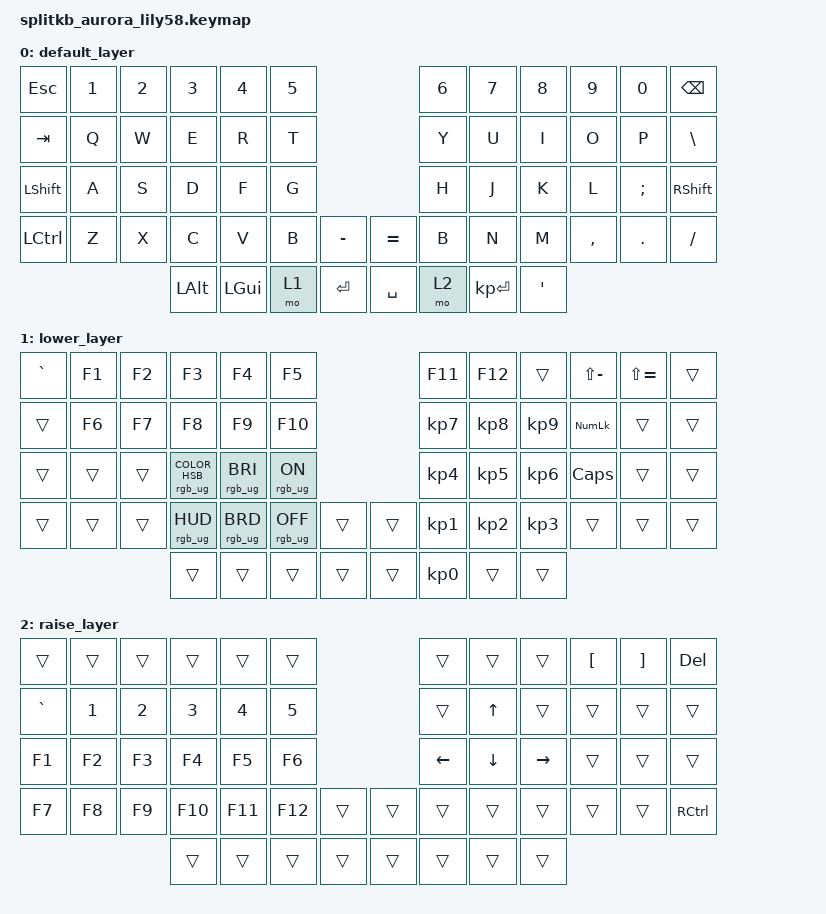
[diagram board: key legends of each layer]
/*
 * om nom nom nom
 */

#include <behaviors.dtsi>
#include <dt-bindings/zmk/keys.h>
#include <dt-bindings/zmk/rgb.h>

&led_strip {
    chain-length = <29>;
};

/ {
    keymap {
        compatible = "zmk,keymap";

        default_layer {

            bindings = <
&kp ESC           &kp N1  &kp N2  &kp N3    &kp N4    &kp N5                          &kp N6  &kp N7        &kp N8    &kp N9     &kp N0      &kp BACKSPACE
&kp TAB           &kp Q   &kp W   &kp E     &kp R     &kp T                           &kp Y   &kp U         &kp I     &kp O      &kp P       &kp BACKSLASH
&kp LEFT_SHIFT    &kp A   &kp S   &kp D     &kp F     &kp G                           &kp H   &kp J         &kp K     &kp L      &kp SEMI    &kp RIGHT_SHIFT
&kp LEFT_CONTROL  &kp Z   &kp X   &kp C     &kp V     &kp B   &kp MINUS    &kp EQUAL  &kp B   &kp N         &kp M     &kp COMMA  &kp PERIOD  &kp SLASH
                                  &kp LALT  &kp LGUI  &mo 1   &kp ENTER    &kp SPACE  &mo 2   &kp KP_ENTER  &kp SQT
            >;
        };

        lower_layer {

            bindings = <
&kp GRAVE  &kp F1  &kp F2  &kp F3                             &kp F4           &kp F5                             &kp F11          &kp F12          &trans           &kp LS(MINUS)   &kp LS(EQUAL)  &trans
&trans     &kp F6  &kp F7  &kp F8                             &kp F9           &kp F10                            &kp KP_NUMBER_7  &kp KP_NUMBER_8  &kp KP_NUMBER_9  &kp KP_NUMLOCK  &trans         &trans
&trans     &trans  &trans  &rgb_ug RGB_COLOR_HSB(196,99,10)  &rgb_ug RGB_BRI  &rgb_ug RGB_ON                     &kp KP_NUMBER_4  &kp KP_NUMBER_5  &kp KP_NUMBER_6  &kp CAPSLOCK    &trans         &trans
&trans     &trans  &trans  &rgb_ug RGB_HUD                    &rgb_ug RGB_BRD  &rgb_ug RGB_OFF  &trans    &trans  &kp KP_NUMBER_1  &kp KP_NUMBER_2  &kp KP_NUMBER_3  &trans          &trans         &trans
                           &trans                             &trans           &trans           &trans    &trans  &kp KP_NUMBER_0  &trans           &trans
            >;
        };

        raise_layer {

            bindings = <
&trans     &trans  &trans  &trans   &trans   &trans                     &trans    &trans        &trans     &kp LEFT_BRACKET  &kp RIGHT_BRACKET  &kp DELETE
&kp GRAVE  &kp N1  &kp N2  &kp N3   &kp N4   &kp N5                     &trans    &kp UP_ARROW  &trans     &trans            &trans             &trans
&kp F1     &kp F2  &kp F3  &kp F4   &kp F5   &kp F6                     &kp LEFT  &kp DOWN      &kp RIGHT  &trans            &trans             &trans
&kp F7     &kp F8  &kp F9  &kp F10  &kp F11  &kp F12  &trans    &trans  &trans    &trans        &trans     &trans            &trans             &kp RCTRL
                           &trans   &trans   &trans   &trans    &trans  &trans    &trans        &trans
            >;
        };
    };
};
